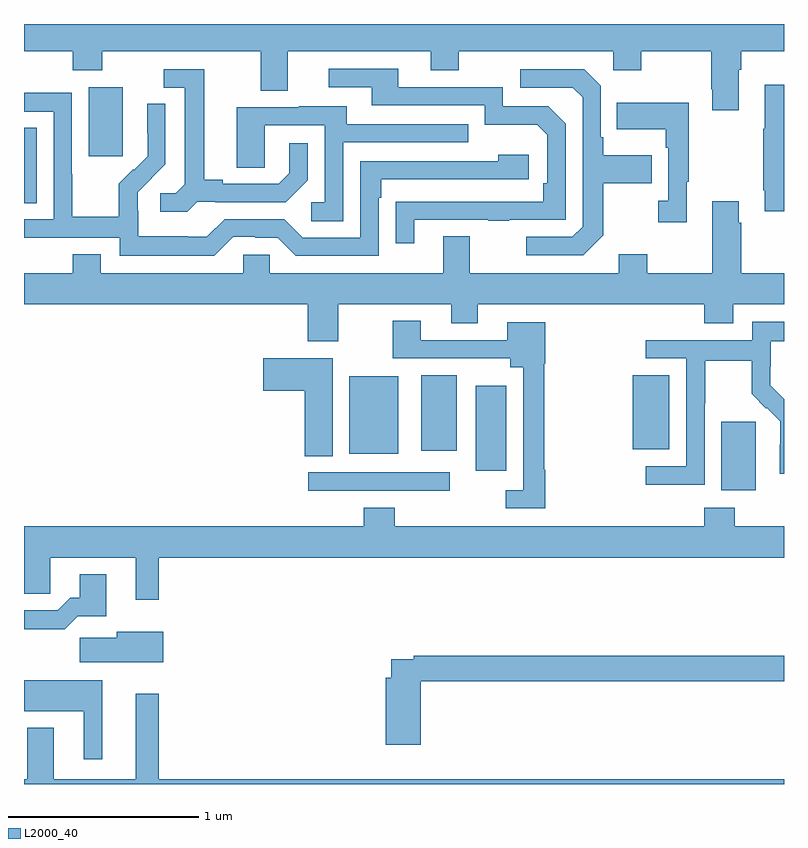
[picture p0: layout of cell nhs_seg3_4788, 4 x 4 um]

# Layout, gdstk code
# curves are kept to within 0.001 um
import gdstk
lib = gdstk.Library(unit=1e-6, precision=1e-09)
def R(c, l, rs):  # rectangles x0, y0, x1, y1
    for r in rs: c.add(gdstk.rectangle(r[:2], r[2:], *l))
def P(c, l, *ps):  # polygons
    for p in ps: c.add(gdstk.Polygon(p, *l))
L2000_40 = (2000, 40)

nhs_seg3_4788 = lib.new_cell('nhs_seg3_4788')
R(nhs_seg3_4788, L2000_40, [(370.497,691.944,371.242,692.04), (372.671,691.946,372.85,692.307), (371.378,692.049,371.539,692.497), (370.712,692.138,370.969,692.545), (371.09,692.153,371.278,692.551), (372.203,692.162,372.397,692.551), (369,693.457,369.067,693.854), (369.341,693.705,369.52,694.066)])
P(nhs_seg3_4788, L2000_40, [(372.763,694.16),(372.776,694.16),(372.776,694.256),(373,694.256),(373,694.4),(369,694.4),(369,694.256),(369.256,694.256),(369.256,694.157),(369.411,694.157),(369.411,694.256),(370.247,694.256),(370.247,694.048),(370.387,694.048),(370.387,694.256),(371.141,694.256),(371.141,694.157),(371.289,694.157),(371.289,694.256),(372.102,694.256),(372.102,694.157),(372.249,694.157),(372.249,694.256),(372.616,694.256),(372.616,694.057),(372.623,694.057),(372.623,693.945),(372.763,693.945)],
  [(371.053,693.369),(371.443,693.369),(371.443,693.364),(371.555,693.364),(371.555,693.369),(371.85,693.369),(371.85,693.876),(371.76,693.966),(371.52,693.966),(371.52,694.068),(370.969,694.068),(370.969,694.164),(370.605,694.164),(370.605,694.068),(370.829,694.068),(370.829,693.972),(371.424,693.972),(371.424,693.869),(371.701,693.869),(371.754,693.816),(371.754,693.562),(371.734,693.562),(371.734,693.465),(370.957,693.464),(370.957,693.246),(371.053,693.246)],
  [(372.049,693.289),(372.049,693.562),(372.305,693.562),(372.305,693.709),(372.049,693.709),(372.049,693.805),(372.036,693.805),(372.036,694.074),(371.949,694.161),(371.613,694.161),(371.613,694.065),(371.889,694.065),(371.94,694.014),(371.94,693.333),(371.886,693.279),(371.643,693.279),(371.643,693.183),(371.943,693.183)],
  [(369.912,693.465),(370.006,693.465),(370.006,693.462),(370.378,693.462),(370.494,693.578),(370.494,693.772),(370.397,693.772),(370.397,693.615),(370.34,693.558),(370.045,693.558),(370.045,693.581),(369.949,693.581),(369.949,694.161),(369.735,694.161),(369.735,694.065),(369.845,694.065),(369.845,693.557),(369.798,693.51),(369.717,693.51),(369.717,693.413),(369.86,693.413)],
  [(373,694.081),(372.899,694.081),(372.899,693.849),(372.892,693.849),(372.892,693.526),(372.899,693.526),(372.899,693.414),(373,693.414)],
  [(370.101,693.279),(370.217,693.279),(370.217,693.276),(370.335,693.276),(370.431,693.18),(370.866,693.18),(370.866,693.485),(370.879,693.485),(370.879,693.582),(371.656,693.582),(371.656,693.712),(371.495,693.712),(371.495,693.678),(370.77,693.678),(370.77,693.276),(370.467,693.276),(370.371,693.372),(370.056,693.372),(369.963,693.279),(369.863,693.279),(369.863,693.283),(369.6,693.283),(369.6,693.417),(369.598,693.417),(369.598,693.514),(369.744,693.662),(369.744,693.98),(369.648,693.98),(369.648,693.826),(369.65,693.826),(369.65,693.704),(369.579,693.633),(369.576,693.636),(369.499,693.559),(369.499,693.385),(369.255,693.385),(369.255,693.608),(369.252,693.608),(369.252,694.038),(369,694.038),(369,693.939),(369.156,693.939),(369.156,693.372),(369,693.372),(369,693.276),(369.504,693.276),(369.504,693.179),(370.001,693.179)],
  [(372.487,693.569),(372.499,693.569),(372.499,693.985),(372.121,693.985),(372.121,693.845),(372.378,693.845),(372.378,693.749),(372.39,693.749),(372.39,693.47),(372.339,693.47),(372.339,693.357),(372.487,693.357)],
  [(370.68,693.777),(371.339,693.777),(371.339,693.873),(370.699,693.873),(370.699,693.967),(370.445,693.967),(370.445,693.963),(370.121,693.963),(370.121,693.643),(370.266,693.643),(370.266,693.867),(370.584,693.867),(370.584,693.462),(370.512,693.462),(370.512,693.361),(370.68,693.361)],
  [(370.653,692.924),(371.249,692.924),(371.249,692.825),(371.389,692.825),(371.389,692.924),(372.581,692.924),(372.581,692.825),(372.733,692.825),(372.733,692.924),(373,692.924),(373,693.088),(372.776,693.088),(372.776,693.353),(372.763,693.353),(372.763,693.466),(372.623,693.466),(372.623,693.088),(372.279,693.088),(372.279,693.187),(372.131,693.187),(372.131,693.088),(371.347,693.088),(371.347,693.283),(371.207,693.283),(371.207,693.088),(370.293,693.088),(370.293,693.186),(370.155,693.186),(370.155,693.088),(369.403,693.088),(369.403,693.187),(369.256,693.187),(369.256,693.088),(369,693.088),(369,692.924),(370.493,692.924),(370.493,692.73),(370.653,692.73)],
  [(371.744,692.054),(371.737,692.054),(371.737,692.612),(371.744,692.612),(371.744,692.83),(371.543,692.83),(371.543,692.736),(371.089,692.736),(371.089,692.839),(370.942,692.839),(370.942,692.64),(371.558,692.64),(371.558,692.594),(371.628,692.594),(371.628,691.947),(371.535,691.947),(371.535,691.851),(371.744,691.851)],
  [(372.582,692.404),(372.585,692.404),(372.585,692.628),(372.829,692.628),(372.829,692.453),(372.906,692.376),(372.909,692.379),(372.98,692.309),(372.98,692.186),(372.978,692.186),(372.978,692.032),(373,692.032),(373,692.426),(372.928,692.498),(372.928,692.595),(372.93,692.595),(372.93,692.729),(373,692.729),(373,692.833),(372.834,692.833),(372.834,692.736),(372.273,692.736),(372.273,692.64),(372.486,692.64),(372.486,692.073),(372.273,692.073),(372.273,691.975),(372.582,691.975)],
  [(370.624,692.641),(370.26,692.641),(370.26,692.471),(370.478,692.471),(370.478,692.125),(370.624,692.125)],
  [(369,691.402),(369.138,691.402),(369.138,691.592),(369.587,691.592),(369.587,691.371),(369.709,691.371),(369.709,691.592),(373,691.592),(373,691.756),(372.741,691.756),(372.741,691.855),(372.581,691.855),(372.581,691.756),(370.952,691.756),(370.952,691.855),(370.787,691.855),(370.787,691.756),(369,691.756)],
  [(369.284,691.283),(369.433,691.283),(369.433,691.504),(369.293,691.504),(369.293,691.381),(369.244,691.381),(369.177,691.314),(369,691.314),(369,691.214),(369.215,691.214)],
  [(369.733,691.201),(369.488,691.201),(369.488,691.169),(369.294,691.169),(369.294,691.04),(369.733,691.04)],
  [(371.087,690.94),(373,690.94),(373,691.076),(371.05,691.076),(371.05,691.056),(370.934,691.056),(370.934,690.958),(370.904,690.958),(370.904,690.606),(371.087,690.606)],
  [(369.412,690.946),(369,690.946),(369,690.782),(369.314,690.782),(369.314,690.531),(369.412,690.531)],
  [(373,690.424),(369.709,690.424),(369.709,690.874),(369.587,690.874),(369.587,690.424),(369.157,690.424),(369.157,690.697),(369.017,690.697),(369.017,690.424),(369,690.424),(369,690.4),(373,690.4)])

lib.write_gds('nhs_seg3_4788.gds')
